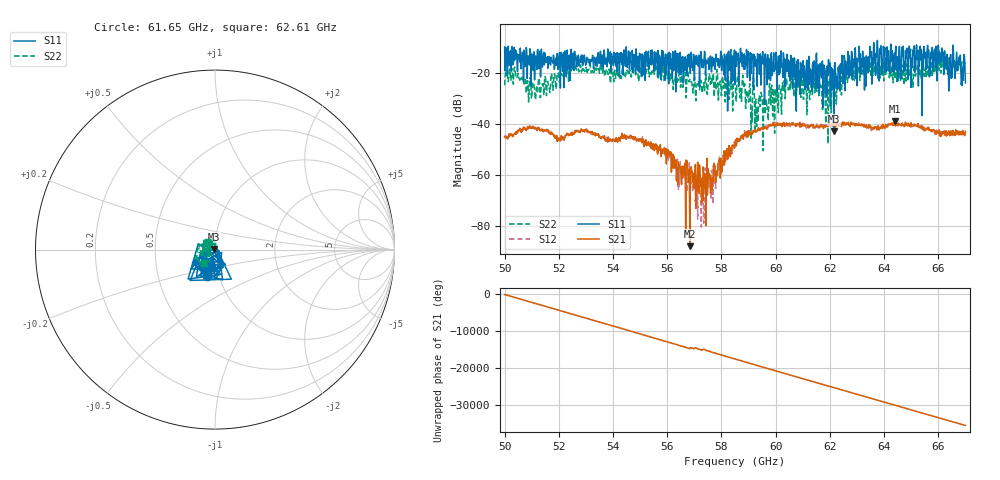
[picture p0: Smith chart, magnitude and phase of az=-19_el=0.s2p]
!Created with skrf (http://scikit-rf.org).
# GHz S RI R 50.0
!freq ReS11 ImS11 ReS21 ImS21 ReS12 ImS12 ReS22 ImS22
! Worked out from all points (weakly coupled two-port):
!   1001 points, 50 GHz to 67 GHz, reference 50 ohm
!   highest |S21| = -38.92 dB at 64.4 GHz (marker M1); lowest = -87.8 dB at 56.83 GHz (marker M2)
!   lowest |S11| = -42.8 dB at 62.16 GHz (marker M3), VSWR 1.01, Z = 49.4 + j0.398 ohm
!   |S11| at or under -10 dB: 50.8 GHz to 54.49 GHz (3.688 GHz wide, 7.01 % of centre); 54.49 GHz to 63.07 GHz (8.582 GHz wide, 14.6 % of centre); 66.01 GHz to 66.54 GHz (531.9 MHz wide, 0.803 % of centre) (the widest 3 of 28)
!   |S22| runs from -50.5 to -13.8 dB; largest |S21 - S12| = 0.0025
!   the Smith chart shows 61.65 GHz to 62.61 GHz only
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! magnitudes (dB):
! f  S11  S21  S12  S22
! 50 GHz  -9.8  -44.9  -44.4  -24.8
! 50.42 GHz  -13.1  -44.0  -43.5  -21.6
! 51.07 GHz  -11.8  -41.7  -41.0  -24.1
! 52.02 GHz  -12.0  -45.8  -46.1  -23.5
! 52.84 GHz  -13.8  -42.1  -42.6  -19.6
! 55.68 GHz  -13.5  -48.9  -49.7  -22.5
! 56.83 GHz  -17.1  -87.8  -76.0  -22.5
! 57.28 GHz  -17.8  -70.9  -62.8  -26.6
! 57.46 GHz  -15.4  -53.4  -60.9  -27.3
! 57.7 GHz  -15.0  -62.4  -56.3  -20.2
! 58.5 GHz  -24.5  -47.7  -48.9  -24.3
! 58.79 GHz  -14.0  -44.0  -45.1  -20.8
! 59.32 GHz  -25.1  -42.4  -42.7  -33.2
! 60.64 GHz  -14.2  -39.5  -39.8  -22.3
! 61.34 GHz  -27.3  -40.6  -40.5  -25.9
! 61.88 GHz  -29.1  -41.0  -40.7  -23.5
! 62.16 GHz  -42.8  -40.2  -40.3  -28.4
! 63.69 GHz  -20.9  -41.3  -41.0  -16.5
! 64.18 GHz  -18.6  -40.0  -40.1  -18.5
! 64.4 GHz  -17.8  -38.9  -39.6  -22.3
! 66.08 GHz  -15.7  -43.8  -43.2  -15.8
! 67 GHz  -23.8  -42.8  -43.1  -15.9
